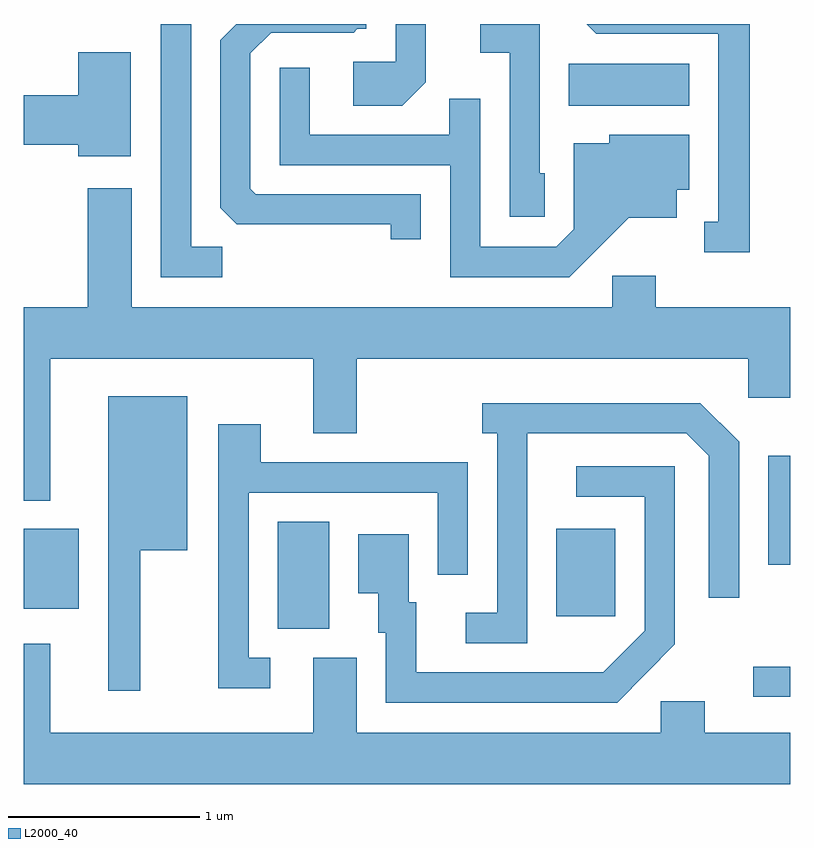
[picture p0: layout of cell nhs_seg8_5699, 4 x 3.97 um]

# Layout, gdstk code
import gdstk
lib = gdstk.Library(unit=1e-6, precision=1e-09)
def R(c, l, rs):  # rectangles x0, y0, x1, y1
    for r in rs: c.add(gdstk.rectangle(r[:2], r[2:], *l))
def P(c, l, *ps):  # polygons
    for p in ps: c.add(gdstk.Polygon(p, *l))
L2000_40 = (2000, 40)

nhs_seg8_5699 = lib.new_cell('nhs_seg8_5699')
R(nhs_seg8_5699, L2000_40, [(359.418,1876.831,359.611,1876.989), (356.936,1877.186,357.204,1877.744), (358.391,1877.251,358.699,1877.709), (355.611,1877.291,355.899,1877.709), (359.496,1877.521,359.611,1878.089), (358.456,1879.916,359.084,1880.134)])
P(nhs_seg8_5699, L2000_40, [(358.329,1879.564),(358.304,1879.564),(358.304,1880.342),(357.993,1880.342),(357.993,1880.191),(358.146,1880.191),(358.146,1879.336),(358.329,1879.336)],
  [(356.648,1879.179),(356.484,1879.179),(356.484,1880.342),(356.326,1880.342),(356.326,1879.021),(356.648,1879.021)],
  [(357.684,1879.454),(356.822,1879.454),(356.794,1879.482),(356.794,1880.189),(356.902,1880.296),(357.332,1880.296),(357.352,1880.316),(357.399,1880.316),(357.399,1880.342),(356.721,1880.342),(356.636,1880.257),(356.636,1879.382),(356.722,1879.296),(357.526,1879.296),(357.526,1879.218),(357.684,1879.218)],
  [(359.399,1880.342),(358.548,1880.342),(358.599,1880.291),(359.236,1880.291),(359.236,1879.309),(359.163,1879.309),(359.163,1879.151),(359.399,1879.151)],
  [(357.709,1880.039),(357.709,1880.342),(357.551,1880.342),(357.551,1880.144),(357.331,1880.144),(357.331,1879.916),(357.587,1879.916)],
  [(356.169,1880.194),(355.896,1880.194),(355.896,1879.969),(355.611,1879.969),(355.611,1879.711),(355.896,1879.711),(355.896,1879.651),(356.169,1879.651)],
  [(358.767,1879.331),(359.019,1879.331),(359.019,1879.476),(359.084,1879.476),(359.084,1879.764),(358.666,1879.764),(358.666,1879.719),(358.481,1879.719),(358.481,1879.272),(358.389,1879.179),(357.994,1879.179),(357.994,1879.953),(357.831,1879.953),(357.831,1879.764),(357.104,1879.764),(357.104,1880.113),(356.946,1880.113),(356.946,1879.606),(357.836,1879.606),(357.836,1879.021),(358.457,1879.021)],
  [(358.681,1879.029),(358.681,1878.864),(356.174,1878.864),(356.174,1879.484),(355.946,1879.484),(355.946,1878.864),(355.611,1878.864),(355.611,1877.853),(355.749,1877.853),(355.749,1878.596),(357.121,1878.596),(357.121,1878.206),(357.349,1878.206),(357.349,1878.596),(359.391,1878.596),(359.391,1878.391),(359.611,1878.391),(359.611,1878.864),(358.909,1878.864),(358.909,1879.029)],
  [(356.219,1877.596),(356.464,1877.596),(356.464,1878.399),(356.051,1878.399),(356.051,1876.863),(356.219,1876.863)],
  [(358.239,1878.206),(359.069,1878.206),(359.186,1878.089),(359.186,1877.348),(359.344,1877.348),(359.344,1878.162),(359.142,1878.364),(358.003,1878.364),(358.003,1878.206),(358.081,1878.206),(358.081,1877.269),(357.918,1877.269),(357.918,1877.111),(358.239,1877.111)],
  [(356.898,1877.034),(356.784,1877.034),(356.784,1877.896),(357.771,1877.896),(357.771,1877.468),(357.929,1877.468),(357.929,1878.054),(356.849,1878.054),(356.849,1878.254),(356.626,1878.254),(356.626,1876.876),(356.898,1876.876)],
  [(359.009,1877.104),(359.009,1878.034),(358.493,1878.034),(358.493,1877.876),(358.851,1877.876),(358.851,1877.177),(358.634,1876.959),(357.659,1876.959),(357.659,1877.324),(357.619,1877.324),(357.619,1877.679),(357.356,1877.679),(357.356,1877.371),(357.461,1877.371),(357.461,1877.166),(357.501,1877.166),(357.501,1876.801),(358.707,1876.801)],
  [(359.611,1876.644),(359.164,1876.644),(359.164,1876.809),(358.936,1876.809),(358.936,1876.644),(357.349,1876.644),(357.349,1877.034),(357.121,1877.034),(357.121,1876.644),(355.749,1876.644),(355.749,1877.108),(355.611,1877.108),(355.611,1876.376),(359.611,1876.376)])

lib.write_gds('nhs_seg8_5699.gds')
